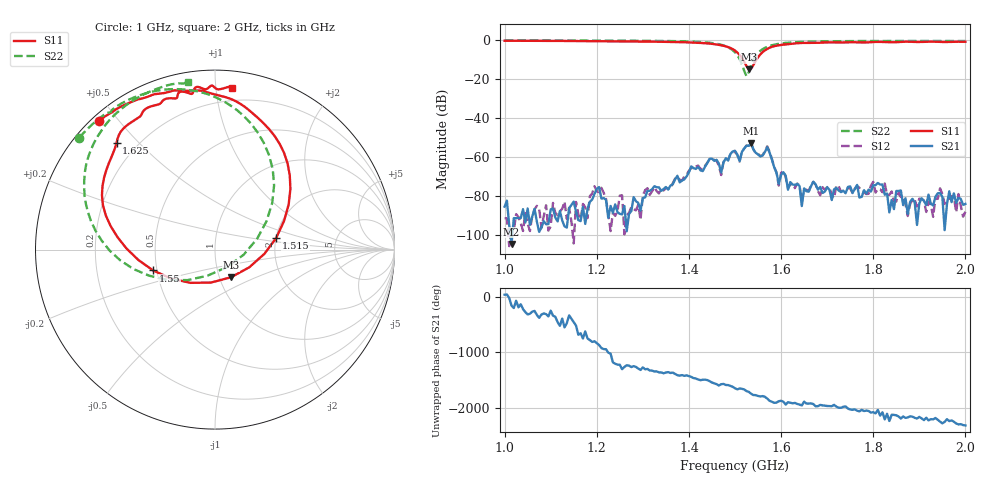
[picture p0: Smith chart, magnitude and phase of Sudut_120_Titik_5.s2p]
# Hz S RI R 50
! CMT, C1220, 16058040, 17.2.0/1
! Date: 14/08/2018 11:47:54
! Data: Format (Calibration Info)
! Freq  S11: Re/Im (F2)  S21: Re/Im (F2)  S12: Re/Im (F2)  S22: Re/Im (F2)
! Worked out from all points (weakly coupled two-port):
!   201 points, 1 GHz to 2 GHz, reference 50 ohm
!   highest |S21| = -52.83 dB at 1.535 GHz (marker M1); lowest = -104.5 dB at 1.015 GHz (marker M2)
!   lowest |S11| = -15.0 dB at 1.53 GHz (marker M3), VSWR 1.43, Z = 56.8 - j18.1 ohm
!   |S11| at or under -10 dB: 1.517 GHz to 1.547 GHz (29.59 MHz wide, 1.93 % of centre)
!   |S22| runs from -18.6 to -0.2 dB; largest |S21 - S12| = 0.00024
!   S11 on the Smith chart (normalised r, x): 1 GHz: 0.02, +0.44; 1.515 GHz: 2.01, +0.30; 1.55 GHz: 0.48, -0.13; 1.625 GHz: 0.13, +0.43; 2 GHz: 0.11, +1.11
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1e9  -0.6471 0.715  4.5e-05 2.9e-05  -2.66e-05 4.19e-06  -0.7551 0.6243
1.015e9  -0.6292 0.7285  -5.68e-06 -1.71e-06  1.06e-05 -6.49e-06  -0.7448 0.636
1.17e9  -0.467 0.8222  4.55e-05 -2.83e-05  9.99e-06 -6.23e-05  -0.6184 0.7506
1.335e9  -0.2033 0.8856  2.16e-05 0.000166  -4.33e-06 0.000117  -0.401 0.866
1.445e9  0.163 0.7975  0.000218 -0.000876  0.000153 -0.00089  -0.0104 0.8546
1.47e9  0.2999 0.6728  -0.000256 -0.000312  -0.000201 -0.000283  0.1621 0.7427
1.5e9  0.4201 0.3383  -0.00135 0.000552  -0.00128 0.000485  0.3292 0.3574
1.515e9  0.3415 0.066  -0.00116 0.000708  -0.00122 0.000668  0.2348 0.0606
1.53e9  0.0894 -0.1542  -0.000105 0.00195  -0.000102 0.00194  -0.0421 -0.1456
1.535e9  -0.0224 -0.1837  0.00116 0.00196  0.00114 0.00197  -0.1541 -0.17
1.55e9  -0.345 -0.116  0.0011 0.000399  0.00115 0.000403  -0.4548 -0.1079
1.57e9  -0.5811 0.1303  0.00158 -0.000822  0.00167 -0.000895  -0.6659 0.1057
1.595e9  -0.6176 0.4028  5.49e-05 -0.0002  5.3e-05 -0.000179  -0.7289 0.3413
1.605e9  -0.5895 0.486  5.17e-05 -0.000407  3.68e-05 -0.00044  -0.7269 0.4118
1.615e9  -0.5635 0.549  -2.74e-06 -0.000146  -5.89e-06 -0.000163  -0.7184 0.4706
1.625e9  -0.5484 0.5958  -7.25e-05 -0.000184  -3.21e-05 -0.000209  -0.7047 0.5203
1.645e9  -0.5115 0.6733  -4.82e-05 -2.79e-05  -6.72e-05 -3.36e-05  -0.671 0.6004
1.67e9  -0.428 0.7336  -0.000133 -0.000192  -0.000172 -0.000155  -0.6268 0.672
1.685e9  -0.4078 0.7562  -0.000131 -0.000111  -8.21e-05 -6.53e-05  -0.6026 0.7046
1.8e9  -0.2061 0.8681  -5.87e-07 0.000188  7.96e-05 0.000218  -0.425 0.8493
1.835e9  -0.1356 0.868  1.43e-05 -3.54e-05  4.94e-05 9.58e-05  -0.3776 0.8741
2e9  0.0971 0.9011  -5.34e-05 -3.34e-05  -3.49e-05 -1.92e-05  -0.152 0.9342
